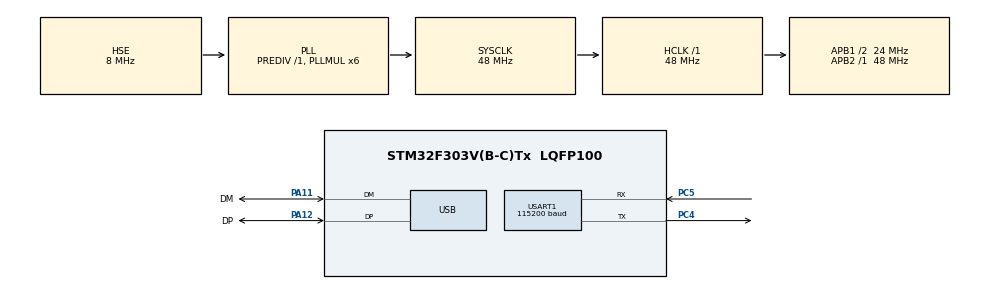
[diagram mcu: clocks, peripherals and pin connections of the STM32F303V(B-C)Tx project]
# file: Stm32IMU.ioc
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Mcu.Family=STM32F3
Mcu.Name=STM32F303V(B-C)Tx
Mcu.Package=LQFP100
NVIC.PriorityGroup=NVIC_PRIORITYGROUP_0
NVIC.USB_LP_CAN_RX0_IRQn=true\:0\:0\:false\:false\:true
PA11.GPIO_Label=DM
PA11.Mode=Device
PA11.Signal=USB_DM
PA12.GPIO_Label=DP
PA12.Mode=Device
PA12.Signal=USB_DP
PA13.GPIO_Label=SWDIO
PA13.Mode=Trace-Asynchronous_SW
PA13.Signal=SYS_JTMS-SWDIO
PA14.GPIO_Label=SWCLK
PA14.Mode=Trace-Asynchronous_SW
PA14.Signal=SYS_JTCK-SWCLK
PA5.GPIO_Label=SPI1_SCK [L3GD20_SCL/SPC]
PA5.GPIO_Mode=GPIO_MODE_AF_PP
PA5.GPIO_PuPd=GPIO_NOPULL
PA5.GPIO_Speed=GPIO_SPEED_LOW
PA5.Signal=SPI1_SCK
PA6.GPIO_Label=SPI1_MISO [L3GD20_SA0/SDO]
PA6.GPIO_Mode=GPIO_MODE_AF_PP
PA6.GPIO_PuPd=GPIO_NOPULL
PA6.GPIO_Speed=GPIO_SPEED_LOW
PA6.Signal=SPI1_MISO
PA7.GPIO_Label=SPI1_MISO [L3GD20_SDA/SDI/SDO]
PA7.GPIO_Mode=GPIO_MODE_AF_PP
PA7.GPIO_PuPd=GPIO_NOPULL
PA7.GPIO_Speed=GPIO_SPEED_LOW
PA7.Signal=SPI1_MOSI
PB3.GPIO_Label=SWO
PB3.Mode=Trace-Asynchronous_SW
PB3.Signal=SYS_JTDO-TRACESWO
PB6.GPIO_FM6=__NULL
PB6.GPIO_Label=I2C1_SCL [LSM303DLHC_SCL]
PB6.GPIO_Mode=GPIO_MODE_AF_OD
PB6.GPIO_PuPd=GPIO_NOPULL
PB6.GPIO_Speed=GPIO_SPEED_LOW
PB6.Signal=I2C1_SCL
PB7.GPIO_FM7=__NULL
PB7.GPIO_Label=I2C1_SDA [LSM303DLHC_SDA]
PB7.GPIO_Mode=GPIO_MODE_AF_OD
PB7.GPIO_PuPd=GPIO_NOPULL
PB7.GPIO_Speed=GPIO_SPEED_LOW
PB7.Signal=I2C1_SDA
PC14-OSC32_IN.GPIO_Label=OSC32_IN
PC14-OSC32_IN.Signal=RCC_OSC32_IN
PC15-OSC32_OUT.GPIO_Label=OSC32_OUT
PC15-OSC32_OUT.Signal=RCC_OSC32_OUT
PC4.GPIO_Speed=GPIO_SPEED_FREQ_HIGH
PC4.Mode=Asynchronous
PC4.Signal=USART1_TX
PC5.GPIO_Speed=GPIO_SPEED_FREQ_HIGH
PC5.Mode=Asynchronous
PC5.Signal=USART1_RX
PF0-OSC_IN.GPIO_Label=OSC_IN
PF0-OSC_IN.Mode=HSE-External-Clock-Source
PF0-OSC_IN.Signal=RCC_OSC_IN
PF1-OSC_OUT.GPIO_Label=OSC_OUT
PF1-OSC_OUT.Signal=RCC_OSC_OUT
ProjectManager.HeapSize=0x200
ProjectManager.StackSize=0x400
ProjectManager.TargetToolchain=SW4STM32
RCC.AHBFreq_Value=48000000
RCC.APB1CLKDivider=RCC_HCLK_DIV2
RCC.APB1Freq_Value=24000000
RCC.APB1TimFreq_Value=48000000
RCC.APB2Freq_Value=48000000
RCC.APB2TimFreq_Value=48000000
RCC.CortexFreq_Value=48000000
RCC.HCLKFreq_Value=48000000
RCC.HSE_VALUE=8000000
RCC.HSIState=RCC_HSI_ON
RCC.HSI_VALUE=8000000
RCC.LSE_VALUE=32768
RCC.PLLMUL=RCC_PLL_MUL6
RCC.SYSCLKFreq_VALUE=48000000
RCC.SYSCLKSourceVirtual=RCC_SYSCLKSOURCE_PLLCLK
RCC.USBFreq_Value=48000000
USART1.BaudRate=115200
USB_DEVICE.CLASS_NAME_FS=CDC
USB_DEVICE.USBD_HandleTypeDef=hUsbDeviceFS
USB_DEVICE.VirtualMode=Cdc
USB_DEVICE.VirtualModeFS=Cdc_FS
VP_USB_DEVICE_VS_USB_DEVICE_CDC_FS.Mode=CDC_FS
board=STM32F3DISCOVERY

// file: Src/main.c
/**
  ******************************************************************************
  * File Name          : main.c
  * Description        : Main program body
  ******************************************************************************
  *
  * COPYRIGHT(c) 2016 STMicroelectronics
  *
  * Redistribution and use in source and binary forms, with or without modification,
  * are permitted provided that the following conditions are met:
  *   1. Redistributions of source code must retain the above copyright notice,
  *      this list of conditions and the following disclaimer.
  *   2. Redistributions in binary form must reproduce the above copyright notice,
  *      this list of conditions and the following disclaimer in the documentation
  *      and/or other materials provided with the distribution.
  *   3. Neither the name of STMicroelectronics nor the names of its contributors
  *      may be used to endorse or promote products derived from this software
  *      without specific prior written permission.
  *
  * THIS SOFTWARE IS PROVIDED BY THE COPYRIGHT HOLDERS AND CONTRIBUTORS "AS IS"
  * AND ANY EXPRESS OR IMPLIED WARRANTIES, INCLUDING, BUT NOT LIMITED TO, THE
  * IMPLIED WARRANTIES OF MERCHANTABILITY AND FITNESS FOR A PARTICULAR PURPOSE ARE
  * DISCLAIMED. IN NO EVENT SHALL THE COPYRIGHT HOLDER OR CONTRIBUTORS BE LIABLE
  * FOR ANY DIRECT, INDIRECT, INCIDENTAL, SPECIAL, EXEMPLARY, OR CONSEQUENTIAL
  * DAMAGES (INCLUDING, BUT NOT LIMITED TO, PROCUREMENT OF SUBSTITUTE GOODS OR
  * SERVICES; LOSS OF USE, DATA, OR PROFITS; OR BUSINESS INTERRUPTION) HOWEVER
  * CAUSED AND ON ANY THEORY OF LIABILITY, WHETHER IN CONTRACT, STRICT LIABILITY,
  * OR TORT (INCLUDING NEGLIGENCE OR OTHERWISE) ARISING IN ANY WAY OUT OF THE USE
  * OF THIS SOFTWARE, EVEN IF ADVISED OF THE POSSIBILITY OF SUCH DAMAGE.
  *
  ******************************************************************************
  */
#include "stm32f3xx_hal.h"
#include "usb_device.h"

/* USER CODE BEGIN Includes */
#include "stm32f3_discovery.h"
#include "stm32f3_discovery_gyroscope.h"
#include "stm32f3_discovery_magnitometer.h"
#include "stm32f3_discovery_accelerometer.h"

#include "imu_util.h"
#include "MadgwickAHRS.h"
#include "MadgwickFullAHRS.h"
/* USER CODE END Includes */

UART_HandleTypeDef huart1;

/* USER CODE BEGIN PV */
uint8_t UserButtonPressed = 0;
/* Private variables ---------------------------------------------------------*/
/* USER CODE END PV */

void SystemClock_Config(void);
static void MX_GPIO_Init(void);
static void MX_USART1_UART_Init(void);

/* USER CODE BEGIN PFP */
void ReadSensors(float *g, float *a, float *m);
/* Private function prototypes -----------------------------------------------*/
/* USER CODE END PFP */

int main(void)
{

  /* USER CODE BEGIN 1 */
  uint32_t tb1, tb2;
  float samplePeriod;
  float g[3], a[3], m[3];
  float quaternion[4] = { 1.0f, .0f, .0f, .0f };
  float ypr[3] = {.0f};
  float speed[2] = { .0f };
  float per[2] = { .0f };
  /* USER CODE END 1 */

  /* MCU Configuration----------------------------------------------------------*/

  /* Reset of all peripherals, Initializes the Flash interface and the Systick. */
  HAL_Init();

  /* Configure the system clock */
  SystemClock_Config();

  /* Initialize all configured peripherals */
  // MX_GPIO_Init();
  MX_USART1_UART_Init();
  MX_USB_DEVICE_Init();

  /* USER CODE BEGIN 2 */
  BSP_GYRO_Init();
  BSP_ACCELERO_Init();
  BSP_MAGNITO_Init();
  BSP_LED_Init(LED_GREEN);
  BSP_PB_Init(BUTTON_USER, BUTTON_MODE_EXTI);

  tb1 = HAL_GetTick();
  /* USER CODE END 2 */

  /* Infinite loop */
  while(1)
  {

  /* USER CODE BEGIN 3 */
      ReadSensors(g, a, m);

      tb2 = HAL_GetTick();
      samplePeriod = (float)(0.001f * (tb2 - tb1));
      tb1 = tb2;

      switch(UserButtonPressed)
	{
	case 0:
	  {
	    printf (
		"G %7.3f,%7.3f,%7.3f\nA %7.3f,%7.3f,%7.3f\nM %7.3f,%7.3f,%7.3f\n\n",
		g[0], g[1], g[2],
		a[0], a[1], a[2],
		m[0], m[1], m[2]);
	    break;
	  }
	case 1:
	  {
	    for(uint8_t i = 0; i < 2; i++)
	      {
		a[i] = a[i] * 9.81f;
	        speed[i] += a[i] * samplePeriod;
	        per[i] += speed[i] * samplePeriod;
	      }
	    printf("S %5.1f,%5.1f P %5.1f,%5.1f\n",
		   speed[0], speed[1], per[0], per[1]);
	    break;
	  }
	case 2:
	  {
	    imuDegToRadV3 (g);
	    MadgwickAHRSupdate (g, a, m, samplePeriod, quaternion);
	    /*printf("Q2 %6.3f,%6.3f,%6.3f,%6.3f,%3dHz\n",
		   quaternion[0], quaternion[1], quaternion[2], quaternion[3],
		   (int)(1.0f / samplePeriod));*/
	    imuQuaternionToYawPitchRoll(quaternion, ypr);
	    imuRadToDegV3(ypr);
	    printf("YPR %7.1f,%7.1f,%7.1f,%4dHz\n", ypr[0], ypr[1], ypr[2], (int)(1.0f / samplePeriod));
	    break;
	  }
	case 3:
	  {
	    imuDegToRadV3(g);
	    MadgwickFullAHRSUpdate(g, a, m, samplePeriod, quaternion);
	    /*printf("Q3 %6.3f,%6.3f,%6.3f,%6.3f,%3dHz\n",
		   quaternion[0], quaternion[1], quaternion[2], quaternion[3],
		   (int)(1.0f / samplePeriod));*/
	    imuQuaternionToYawPitchRoll(quaternion, ypr);
	    imuRadToDegV3(ypr);
	    printf("YPR %7.1f,%7.1f,%7.1f%,4dHz\n", ypr[0], ypr[1], ypr[2], (int)(1.0f / samplePeriod));
	    break;
	  }
	case 4:
	  {
	    imuNormalizeV3(a);
	    imuNormalizeV3(m);
	    printf("PGH%5.1f,%5.1f,%7.1f,%7.1f\n",
		   RAD2DEG(imuPitch(a[0], a[1], a[2])),
		   RAD2DEG(imuRoll(a[0], a[1], a[2])),
		   RAD2DEG(imuHeading(m[0], m[1], m[2])),
		   RAD2DEG(imuHeadingTiltCompensated(m[0], m[1], m[2], a[0], a[1], a[2])));
	    break;
	  }
	default:
	  UserButtonPressed = 0;
	}

      //BSP_LED_Toggle(LED_GREEN);
      //HAL_Delay(10);
  }
  /* USER CODE END 3 */

}

/** System Clock Configuration
*/
void SystemClock_Config(void)
{

  RCC_OscInitTypeDef RCC_OscInitStruct;
  RCC_ClkInitTypeDef RCC_ClkInitStruct;
  RCC_PeriphCLKInitTypeDef PeriphClkInit;

  RCC_OscInitStruct.OscillatorType = RCC_OSCILLATORTYPE_HSE;
  RCC_OscInitStruct.HSEState = RCC_HSE_BYPASS;
  RCC_OscInitStruct.HSEPredivValue = RCC_HSE_PREDIV_DIV1;
  RCC_OscInitStruct.PLL.PLLState = RCC_PLL_ON;
  RCC_OscInitStruct.PLL.PLLSource = RCC_PLLSOURCE_HSE;
  RCC_OscInitStruct.PLL.PLLMUL = RCC_PLL_MUL6;
  HAL_RCC_OscConfig(&RCC_OscInitStruct);

  RCC_ClkInitStruct.ClockType = RCC_CLOCKTYPE_HCLK|RCC_CLOCKTYPE_SYSCLK
                              |RCC_CLOCKTYPE_PCLK1|RCC_CLOCKTYPE_PCLK2;
  RCC_ClkInitStruct.SYSCLKSource = RCC_SYSCLKSOURCE_PLLCLK;
  RCC_ClkInitStruct.AHBCLKDivider = RCC_SYSCLK_DIV1;
  RCC_ClkInitStruct.APB1CLKDivider = RCC_HCLK_DIV2;
  RCC_ClkInitStruct.APB2CLKDivider = RCC_HCLK_DIV1;
  HAL_RCC_ClockConfig(&RCC_ClkInitStruct, FLASH_LATENCY_1);

  PeriphClkInit.PeriphClockSelection = RCC_PERIPHCLK_USB|RCC_PERIPHCLK_USART1;
  PeriphClkInit.Usart1ClockSelection = RCC_USART1CLKSOURCE_PCLK2;
  PeriphClkInit.USBClockSelection = RCC_USBCLKSOURCE_PLL;
  HAL_RCCEx_PeriphCLKConfig(&PeriphClkInit);

  HAL_SYSTICK_Config(HAL_RCC_GetHCLKFreq()/1000);

  HAL_SYSTICK_CLKSourceConfig(SYSTICK_CLKSOURCE_HCLK);

  /* SysTick_IRQn interrupt configuration */
  HAL_NVIC_SetPriority(SysTick_IRQn, 0, 0);
}

/* USART1 init function */
void MX_USART1_UART_Init(void)
{

  huart1.Instance = USART1;
  huart1.Init.BaudRate = 115200;
  huart1.Init.WordLength = UART_WORDLENGTH_8B;
  huart1.Init.StopBits = UART_STOPBITS_1;
  huart1.Init.Parity = UART_PARITY_NONE;
  huart1.Init.Mode = UART_MODE_TX_RX;
  huart1.Init.HwFlowCtl = UART_HWCONTROL_NONE;
  huart1.Init.OverSampling = UART_OVERSAMPLING_16;
  huart1.Init.OneBitSampling = UART_ONE_BIT_SAMPLE_DISABLE;
  huart1.AdvancedInit.AdvFeatureInit = UART_ADVFEATURE_NO_INIT;
  HAL_UART_Init(&huart1);

}

/** Configure pins as
        * Analog
        * Input
        * Output
        * EVENT_OUT
        * EXTI
     PA5   ------> SPI1_SCK
     PA6   ------> SPI1_MISO
     PA7   ------> SPI1_MOSI
     PB6   ------> I2C1_SCL
     PB7   ------> I2C1_SDA
*/
void MX_GPIO_Init(void)
{

  GPIO_InitTypeDef GPIO_InitStruct;

  /* GPIO Ports Clock Enable */
  __HAL_RCC_GPIOC_CLK_ENABLE();
  __HAL_RCC_GPIOF_CLK_ENABLE();
  __HAL_RCC_GPIOA_CLK_ENABLE();
  __HAL_RCC_GPIOB_CLK_ENABLE();

  /*Configure GPIO pins : PA5 PA6 SPI1_MISO_Pin */
  GPIO_InitStruct.Pin = GPIO_PIN_5|GPIO_PIN_6|SPI1_MISO_Pin;
  GPIO_InitStruct.Mode = GPIO_MODE_AF_PP;
  GPIO_InitStruct.Pull = GPIO_NOPULL;
  GPIO_InitStruct.Speed = GPIO_SPEED_LOW;
  GPIO_InitStruct.Alternate = GPIO_AF5_SPI1;
  HAL_GPIO_Init(GPIOA, &GPIO_InitStruct);

  /*Configure GPIO pins : PB6 PB7 */
  GPIO_InitStruct.Pin = GPIO_PIN_6|GPIO_PIN_7;
  GPIO_InitStruct.Mode = GPIO_MODE_AF_OD;
  GPIO_InitStruct.Pull = GPIO_PULLUP;
  GPIO_InitStruct.Speed = GPIO_SPEED_LOW;
  GPIO_InitStruct.Alternate = GPIO_AF4_I2C1;
  HAL_GPIO_Init(GPIOB, &GPIO_InitStruct);

}

/* USER CODE BEGIN 4 */
void ReadSensors(float *g, float *a, float *m)
{
  float buffer[3] = {.0f};

  BSP_GYRO_GetXYZ(buffer);
  g[0] = buffer[1];
  g[1] = buffer[0];
  g[2] = -buffer[2];

  BSP_ACCELERO_GetXYZ(buffer);
  a[0] = buffer[0];
  a[1] = -buffer[1];
  a[2] = buffer[2];

  BSP_MAGNITO_GetXYZ(buffer);
  m[0] = -buffer[0];
  m[1] = buffer[1];
  m[2] = -buffer[2];
}

/**
  * @brief EXTI line detection callbacks
  * @param GPIO_Pin: Specifies the pins connected EXTI line
  * @retval None
  */
void HAL_GPIO_EXTI_Callback(uint16_t GPIO_Pin)
{
  if(GPIO_Pin==USER_BUTTON_PIN)
  {
    UserButtonPressed++;
    if (UserButtonPressed > 4)
    {
      UserButtonPressed = 0;
    }
  }
}

// printf to UART (syscalls.c)
void tty_outc( char ch )
{
  HAL_UART_Transmit(&huart1, (uint8_t *)&ch, 1, 1);
}

char tty_inc()
{
  char ch = 'e';
  //HAL_UART_Receive(&huart1, (uint8_t *)&ch, 1, 1);
  return ch;
}
/* USER CODE END 4 */

/************************ (C) COPYRIGHT STMicroelectronics *****END OF FILE****/
